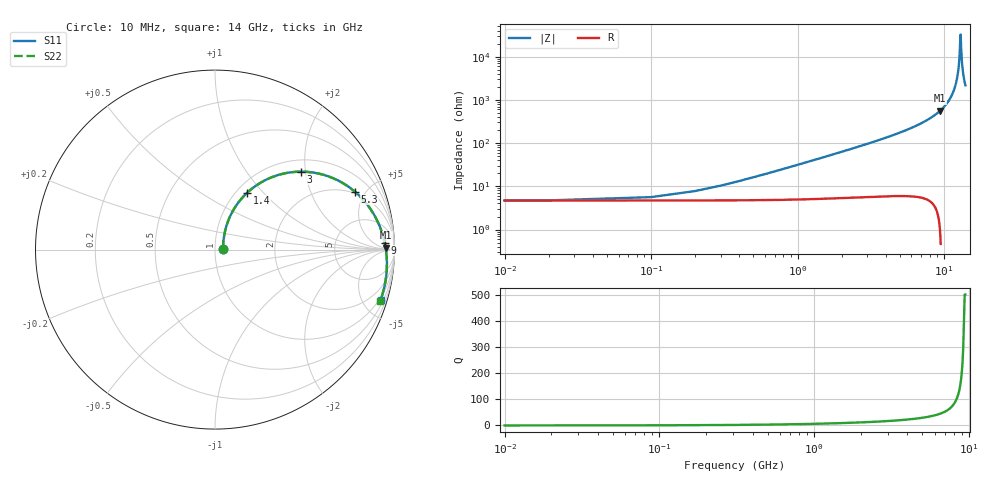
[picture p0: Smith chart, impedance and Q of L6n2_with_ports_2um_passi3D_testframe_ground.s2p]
#  GHZ S DB R 50.0
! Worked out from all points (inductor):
!   142 points, 10 MHz to 14 GHz, reference 50 ohm
!   read as one part in series: L = 4.9 nH near 500 MHz
!   highest Q = 594 at 9.4 GHz (marker M1), where L = 9.43 nH
!   self-resonance near 12.9 GHz
!   S11 on the Smith chart (normalised r, x): 10 MHz: 1.09, +0.01; 1.4 GHz: 1.12, +0.82; 3 GHz: 1.27, +1.89; 5.3 GHz: 1.88, +4.21; 9 GHz: 23, +17; 14 GHz: 0.81, -6.59
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0.01  -26.97 3.3  -0.40 -0.2  -0.40 -0.2  -26.97 3.3
0.6  -15.52 65.2  -0.57 -10.8  -0.57 -10.8  -15.52 65.2
1.4  -8.76 60.5  -1.17 -23.9  -1.17 -23.9  -8.76 60.4
2.4  -5.04 48.7  -2.32 -38.0  -2.32 -38.0  -5.05 48.7
3  -3.78 42.2  -3.15 -45.2  -3.15 -45.2  -3.78 42.1
4.7  -1.85 26.9  -5.78 -61.4  -5.78 -61.4  -1.86 26.9
5.3  -1.48 22.6  -6.78 -66.0  -6.78 -66.0  -1.48 22.5
7.1  -0.81 11.6  -10.04 -77.5  -10.04 -77.5  -0.81 11.6
9  -0.48 2.4  -14.22 -87.4  -14.22 -87.4  -0.48 2.3
9.4  -0.44 0.6  -15.28 -89.3  -15.28 -89.3  -0.44 0.6
10.7  -0.34 -4.7  -19.62 -95.4  -19.62 -95.4  -0.35 -4.8
11.7  -0.31 -8.6  -24.92 -100.7  -24.92 -100.7  -0.31 -8.7
12.2  -0.30 -10.5  -29.36 -104.4  -29.36 -104.4  -0.30 -10.6
12.5  -0.30 -11.6  -33.66 -108.4  -33.66 -108.4  -0.30 -11.7
12.7  -0.30 -12.3  -38.36 -114.6  -38.36 -114.6  -0.30 -12.4
12.8  -0.30 -12.7  -42.06 -121.9  -42.06 -121.9  -0.30 -12.8
12.9  -0.30 -13.1  -47.80 -143.4  -47.80 -143.4  -0.30 -13.2
13  -0.30 -13.4  -50.66 142.1  -50.66 142.1  -0.30 -13.5
13.1  -0.30 -13.8  -44.24 102.3  -44.24 102.3  -0.30 -13.9
13.3  -0.30 -14.5  -36.88 86.6  -36.88 86.6  -0.30 -14.6
13.6  -0.30 -15.6  -31.41 80.5  -31.41 80.5  -0.31 -15.7
14  -0.31 -17.0  -27.23 76.8  -27.23 76.8  -0.32 -17.1
